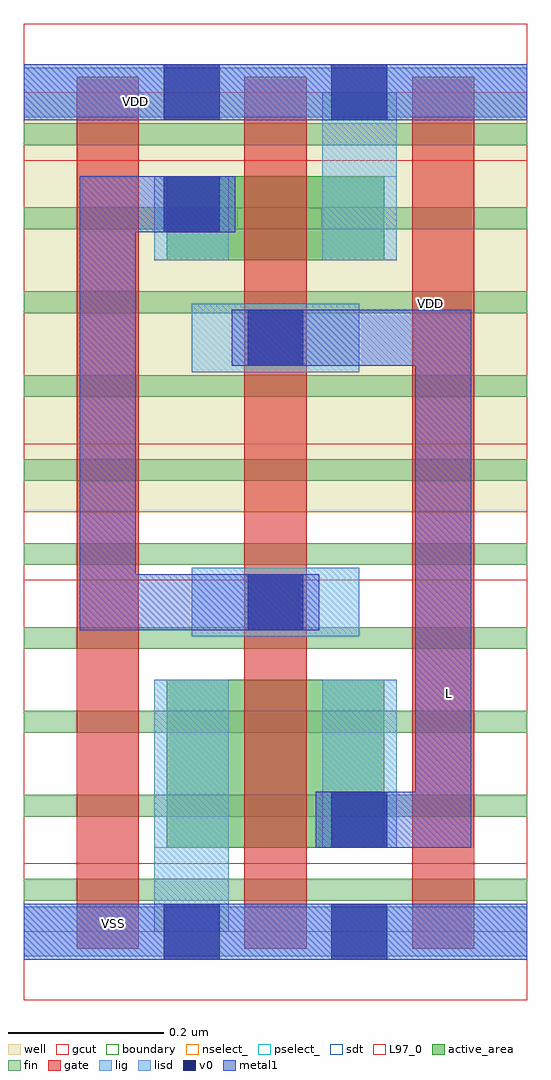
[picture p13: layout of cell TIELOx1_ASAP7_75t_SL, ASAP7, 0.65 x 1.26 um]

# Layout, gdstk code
import gdstk
lib = gdstk.Library(unit=1e-6, precision=2.5e-10)
def R(c, l, rs):  # rectangles x0, y0, x1, y1
    for r in rs: c.add(gdstk.rectangle(r[:2], r[2:], *l))
def A(c, l, x, y, w, h, nx, ny, dx, dy):  # array of equal rectangles
    R(c, l, [(x+i*dx, y+j*dy, x+i*dx+w, y+j*dy+h) for i in range(nx) for j in range(ny)])
def P(c, l, *ps):  # polygons
    for p in ps: c.add(gdstk.Polygon(p, *l))
well = (1, 0)
fin = (2, 0)
gate = (7, 0)
gcut = (10, 0)
active_area = (11, 0)
nselect_ = (12, 0)
pselect_ = (13, 0)
lig = (16, 0)
lisd = (17, 0)
v0 = (18, 0)
metal1 = (19, 0)
sdt = (88, 0)
L97_0 = (97, 0)
boundary = (100, 0)

tielox1_asap7_75t_sl = lib.new_cell('TIELOx1_ASAP7_75t_SL')
R(tielox1_asap7_75t_sl, well, [(0,0.54,0.648,1.08)])
A(tielox1_asap7_75t_sl, fin, 0, 0.04, 0.648, 0.028, 1, 10, 0, 0.108)
A(tielox1_asap7_75t_sl, gate, 0.068, -0.022, 0.08, 1.122, 3, 1, 0.216, 0)
A(tielox1_asap7_75t_sl, gcut, 0, -0.088, 0.648, 0.176, 1, 3, 0, 0.54)
R(tielox1_asap7_75t_sl, active_area, [(0.184,0.108,0.464,0.324), (0.184,0.864,0.464,0.972)])
R(tielox1_asap7_75t_sl, nselect_, [(0,0,0.648,0.54)])
R(tielox1_asap7_75t_sl, pselect_, [(0,0.54,0.648,1.08)])
R(tielox1_asap7_75t_sl, lig, [(0,-0.032,0.648,0.032), (0.216,0.38,0.432,0.468), (0.216,0.72,0.432,0.808), (0,1.048,0.648,1.112)])
R(tielox1_asap7_75t_sl, lisd, [(0.168,0,0.264,0.324), (0.384,0.108,0.48,0.324), (0.168,0.864,0.264,0.972), (0.384,0.864,0.48,1.08)])
R(tielox1_asap7_75t_sl, v0, [(0.18,-0.036,0.252,0.036), (0.396,-0.036,0.468,0.036), (0.396,0.108,0.468,0.18), (0.288,0.388,0.36,0.46), (0.288,0.728,0.36,0.8), (0.18,0.9,0.252,0.972), (0.18,1.044,0.252,1.116), (0.396,1.044,0.468,1.116)])
R(tielox1_asap7_75t_sl, metal1, [(0,-0.036,0.648,0.036), (0,1.044,0.648,1.116)])
P(tielox1_asap7_75t_sl, metal1, [(0.576,0.8),(0.268,0.8),(0.268,0.728),(0.504,0.728),(0.504,0.18),(0.376,0.18),(0.376,0.108),(0.576,0.108)],
  [(0.38,0.46),(0.144,0.46),(0.144,0.9),(0.272,0.9),(0.272,0.972),(0.072,0.972),(0.072,0.388),(0.38,0.388)])
R(tielox1_asap7_75t_sl, sdt, [(0.168,0.108,0.264,0.324), (0.384,0.108,0.48,0.324), (0.168,0.864,0.264,0.972), (0.384,0.864,0.48,0.972)])
R(tielox1_asap7_75t_sl, L97_0, [(0,0,0.648,1.08)])
R(tielox1_asap7_75t_sl, boundary, [(0,0,0.648,1.08)])
tielox1_asap7_75t_sl.add(gdstk.Label('VSS', (0.116,0.01), layer=19, texttype=251))
tielox1_asap7_75t_sl.add(gdstk.Label('VDD', (0.144,1.068), layer=19, texttype=251))
tielox1_asap7_75t_sl.add(gdstk.Label('L', (0.548,0.306), layer=19, texttype=251))
tielox1_asap7_75t_sl.add(gdstk.Label('VDD', (0.524,0.808), layer=1, texttype=251))
tielox1_asap7_75t_sl.add(gdstk.Label('VSS', (0.8,0.812), layer=3, texttype=251))

lib.write_gds('TIELOx1_ASAP7_75t_SL.gds')
